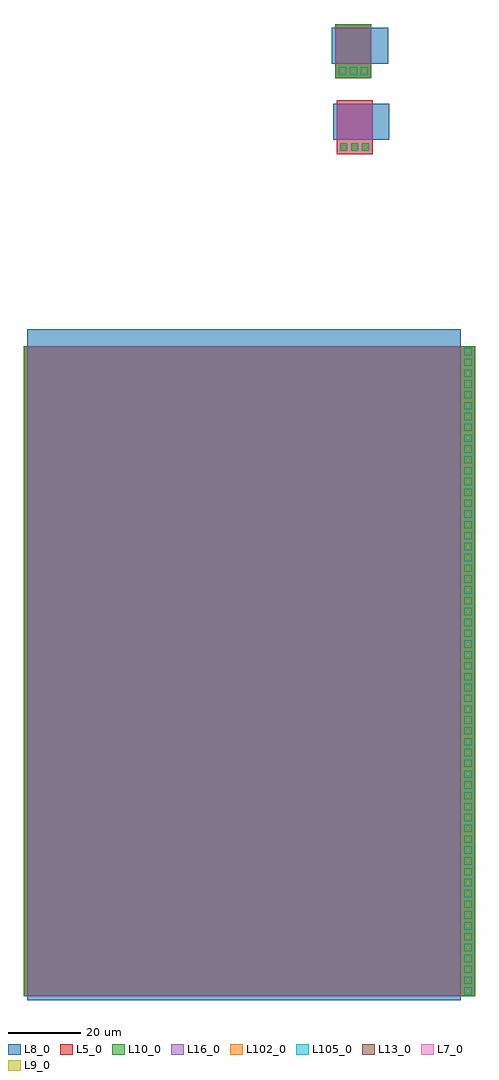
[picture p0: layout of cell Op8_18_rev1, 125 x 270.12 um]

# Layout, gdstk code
from math import pi, radians
import gdstk
lib = gdstk.Library(unit=1e-6, precision=1e-09)
def R(c, l, rs):  # rectangles x0, y0, x1, y1
    for r in rs: c.add(gdstk.rectangle(r[:2], r[2:], *l))
L5_0 = (5, 0)
L7_0 = (7, 0)
L8_0 = (8, 0)
L9_0 = (9, 0)
L10_0 = (10, 0)
L13_0 = (13, 0)
L16_0 = (16, 0)
L102_0 = (102, 0)
L105_0 = (105, 0)

pcont = lib.new_cell('pcont')
R(pcont, L5_0, [(-1,-1,1,1)])
R(pcont, L7_0, [(-0.5,-0.5,0.5,0.5)])
R(pcont, L8_0, [(-1,-1,1,1)])
R(pcont, L13_0, [(-0.5,-0.5,0.5,0.5)])
R(pcont, L102_0, [(-1,-1,1,1)])

via = lib.new_cell('Via')
R(via, L8_0, [(-1,-1,1,1)])
R(via, L9_0, [(-0.5,-0.5,0.5,0.5)])
R(via, L10_0, [(-1,-1,1,1)])
R(via, L13_0, [(-0.5,-0.5,0.5,0.5)])
R(via, L105_0, [(-1,-1,1,1)])

mpoly_cap = lib.new_cell('MPoly_cap')
R(mpoly_cap, L5_0, [(4.625,-1,184.625,124)])
R(mpoly_cap, L8_0, [(0,0,185.625,120)])
R(mpoly_cap, L10_0, [(4.625,-1,184.625,124)])
R(mpoly_cap, L16_0, [(4.625,0,184.625,120)])
mpoly_cap.add(gdstk.Reference(pcont, (96.125,122)))
mpoly_cap.add(gdstk.Reference(via, (96.125,122)))
mpoly_cap.add(gdstk.Reference(pcont, (99.125,122)))
mpoly_cap.add(gdstk.Reference(via, (99.125,122)))
mpoly_cap.add(gdstk.Reference(pcont, (102.125,122)))
mpoly_cap.add(gdstk.Reference(via, (102.125,122)))
mpoly_cap.add(gdstk.Reference(pcont, (105.125,122)))
mpoly_cap.add(gdstk.Reference(via, (105.125,122)))
mpoly_cap.add(gdstk.Reference(pcont, (108.125,122)))
mpoly_cap.add(gdstk.Reference(via, (108.125,122)))
mpoly_cap.add(gdstk.Reference(pcont, (111.125,122)))
mpoly_cap.add(gdstk.Reference(via, (111.125,122)))
mpoly_cap.add(gdstk.Reference(pcont, (114.125,122)))
mpoly_cap.add(gdstk.Reference(via, (114.125,122)))
mpoly_cap.add(gdstk.Reference(pcont, (117.125,122)))
mpoly_cap.add(gdstk.Reference(via, (117.125,122)))
mpoly_cap.add(gdstk.Reference(pcont, (120.125,122)))
mpoly_cap.add(gdstk.Reference(via, (120.125,122)))
mpoly_cap.add(gdstk.Reference(pcont, (123.125,122)))
mpoly_cap.add(gdstk.Reference(via, (123.125,122)))
mpoly_cap.add(gdstk.Reference(pcont, (126.125,122)))
mpoly_cap.add(gdstk.Reference(via, (126.125,122)))
mpoly_cap.add(gdstk.Reference(pcont, (129.125,122)))
mpoly_cap.add(gdstk.Reference(via, (129.125,122)))
mpoly_cap.add(gdstk.Reference(pcont, (132.125,122)))
mpoly_cap.add(gdstk.Reference(via, (132.125,122)))
mpoly_cap.add(gdstk.Reference(pcont, (135.125,122)))
mpoly_cap.add(gdstk.Reference(via, (135.125,122)))
mpoly_cap.add(gdstk.Reference(pcont, (138.125,122)))
mpoly_cap.add(gdstk.Reference(via, (138.125,122)))
mpoly_cap.add(gdstk.Reference(pcont, (141.125,122)))
mpoly_cap.add(gdstk.Reference(via, (141.125,122)))
mpoly_cap.add(gdstk.Reference(pcont, (144.125,122)))
mpoly_cap.add(gdstk.Reference(via, (144.125,122)))
mpoly_cap.add(gdstk.Reference(pcont, (147.125,122)))
mpoly_cap.add(gdstk.Reference(via, (147.125,122)))
mpoly_cap.add(gdstk.Reference(pcont, (150.125,122)))
mpoly_cap.add(gdstk.Reference(via, (150.125,122)))
mpoly_cap.add(gdstk.Reference(pcont, (153.125,122)))
mpoly_cap.add(gdstk.Reference(via, (153.125,122)))
mpoly_cap.add(gdstk.Reference(pcont, (156.125,122)))
mpoly_cap.add(gdstk.Reference(via, (156.125,122)))
mpoly_cap.add(gdstk.Reference(pcont, (159.125,122)))
mpoly_cap.add(gdstk.Reference(via, (159.125,122)))
mpoly_cap.add(gdstk.Reference(pcont, (162.125,122)))
mpoly_cap.add(gdstk.Reference(via, (162.125,122)))
mpoly_cap.add(gdstk.Reference(pcont, (165.125,122)))
mpoly_cap.add(gdstk.Reference(via, (165.125,122)))
mpoly_cap.add(gdstk.Reference(pcont, (168.125,122)))
mpoly_cap.add(gdstk.Reference(via, (168.125,122)))
mpoly_cap.add(gdstk.Reference(pcont, (171.125,122)))
mpoly_cap.add(gdstk.Reference(via, (171.125,122)))
mpoly_cap.add(gdstk.Reference(pcont, (174.125,122)))
mpoly_cap.add(gdstk.Reference(via, (174.125,122)))
mpoly_cap.add(gdstk.Reference(pcont, (177.125,122)))
mpoly_cap.add(gdstk.Reference(via, (177.125,122)))
mpoly_cap.add(gdstk.Reference(pcont, (180.125,122)))
mpoly_cap.add(gdstk.Reference(via, (180.125,122)))
mpoly_cap.add(gdstk.Reference(pcont, (183.125,122)))
mpoly_cap.add(gdstk.Reference(via, (183.125,122)))
mpoly_cap.add(gdstk.Reference(pcont, (6.125,122)))
mpoly_cap.add(gdstk.Reference(via, (6.125,122)))
mpoly_cap.add(gdstk.Reference(pcont, (9.125,122)))
mpoly_cap.add(gdstk.Reference(via, (9.125,122)))
mpoly_cap.add(gdstk.Reference(pcont, (12.125,122)))
mpoly_cap.add(gdstk.Reference(via, (12.125,122)))
mpoly_cap.add(gdstk.Reference(pcont, (15.125,122)))
mpoly_cap.add(gdstk.Reference(via, (15.125,122)))
mpoly_cap.add(gdstk.Reference(pcont, (18.125,122)))
mpoly_cap.add(gdstk.Reference(via, (18.125,122)))
mpoly_cap.add(gdstk.Reference(pcont, (21.125,122)))
mpoly_cap.add(gdstk.Reference(via, (21.125,122)))
mpoly_cap.add(gdstk.Reference(pcont, (24.125,122)))
mpoly_cap.add(gdstk.Reference(via, (24.125,122)))
mpoly_cap.add(gdstk.Reference(pcont, (27.125,122)))
mpoly_cap.add(gdstk.Reference(via, (27.125,122)))
mpoly_cap.add(gdstk.Reference(pcont, (30.125,122)))
mpoly_cap.add(gdstk.Reference(via, (30.125,122)))
mpoly_cap.add(gdstk.Reference(pcont, (33.125,122)))
mpoly_cap.add(gdstk.Reference(via, (33.125,122)))
mpoly_cap.add(gdstk.Reference(pcont, (36.125,122)))
mpoly_cap.add(gdstk.Reference(via, (36.125,122)))
mpoly_cap.add(gdstk.Reference(pcont, (39.125,122)))
mpoly_cap.add(gdstk.Reference(via, (39.125,122)))
mpoly_cap.add(gdstk.Reference(pcont, (42.125,122)))
mpoly_cap.add(gdstk.Reference(via, (42.125,122)))
mpoly_cap.add(gdstk.Reference(pcont, (45.125,122)))
mpoly_cap.add(gdstk.Reference(via, (45.125,122)))
mpoly_cap.add(gdstk.Reference(pcont, (48.125,122)))
mpoly_cap.add(gdstk.Reference(via, (48.125,122)))
mpoly_cap.add(gdstk.Reference(pcont, (51.125,122)))
mpoly_cap.add(gdstk.Reference(via, (51.125,122)))
mpoly_cap.add(gdstk.Reference(pcont, (54.125,122)))
mpoly_cap.add(gdstk.Reference(via, (54.125,122)))
mpoly_cap.add(gdstk.Reference(pcont, (57.125,122)))
mpoly_cap.add(gdstk.Reference(via, (57.125,122)))
mpoly_cap.add(gdstk.Reference(pcont, (60.125,122)))
mpoly_cap.add(gdstk.Reference(via, (60.125,122)))
mpoly_cap.add(gdstk.Reference(pcont, (63.125,122)))
mpoly_cap.add(gdstk.Reference(via, (63.125,122)))
mpoly_cap.add(gdstk.Reference(pcont, (66.125,122)))
mpoly_cap.add(gdstk.Reference(via, (66.125,122)))
mpoly_cap.add(gdstk.Reference(pcont, (69.125,122)))
mpoly_cap.add(gdstk.Reference(via, (69.125,122)))
mpoly_cap.add(gdstk.Reference(pcont, (72.125,122)))
mpoly_cap.add(gdstk.Reference(via, (72.125,122)))
mpoly_cap.add(gdstk.Reference(pcont, (75.125,122)))
mpoly_cap.add(gdstk.Reference(via, (75.125,122)))
mpoly_cap.add(gdstk.Reference(pcont, (78.125,122)))
mpoly_cap.add(gdstk.Reference(via, (78.125,122)))
mpoly_cap.add(gdstk.Reference(pcont, (81.125,122)))
mpoly_cap.add(gdstk.Reference(via, (81.125,122)))
mpoly_cap.add(gdstk.Reference(pcont, (84.125,122)))
mpoly_cap.add(gdstk.Reference(via, (84.125,122)))
mpoly_cap.add(gdstk.Reference(pcont, (87.125,122)))
mpoly_cap.add(gdstk.Reference(via, (87.125,122)))
mpoly_cap.add(gdstk.Reference(pcont, (90.125,122)))
mpoly_cap.add(gdstk.Reference(via, (90.125,122)))
mpoly_cap.add(gdstk.Reference(pcont, (93.125,122)))
mpoly_cap.add(gdstk.Reference(via, (93.125,122)))

poly_cap = lib.new_cell('Poly_cap')
R(poly_cap, L5_0, [(4.625,-1,14.625,14)])
R(poly_cap, L8_0, [(0,0,15.625,10)])
R(poly_cap, L16_0, [(4.625,0,14.625,10)])
poly_cap.add(gdstk.Reference(pcont, (6.625,12)))
poly_cap.add(gdstk.Reference(via, (6.625,12)))
poly_cap.add(gdstk.Reference(pcont, (9.625,12)))
poly_cap.add(gdstk.Reference(via, (9.625,12)))
poly_cap.add(gdstk.Reference(pcont, (12.625,12)))
poly_cap.add(gdstk.Reference(via, (12.625,12)))

mpoly_cap_1 = lib.new_cell('MPoly_cap$1')
R(mpoly_cap_1, L5_0, [(4.625,-1,14.625,14)])
R(mpoly_cap_1, L8_0, [(0,0,15.625,10)])
R(mpoly_cap_1, L10_0, [(4.625,-1,14.625,14)])
R(mpoly_cap_1, L16_0, [(4.625,0,14.625,10)])
mpoly_cap_1.add(gdstk.Reference(pcont, (6.625,12)))
mpoly_cap_1.add(gdstk.Reference(via, (6.625,12)))
mpoly_cap_1.add(gdstk.Reference(pcont, (9.625,12)))
mpoly_cap_1.add(gdstk.Reference(via, (9.625,12)))
mpoly_cap_1.add(gdstk.Reference(pcont, (12.625,12)))
mpoly_cap_1.add(gdstk.Reference(via, (12.625,12)))

op8_18_rev1 = lib.new_cell('Op8_18_rev1')
op8_18_rev1.add(gdstk.Reference(mpoly_cap, (230.71,127.7), rotation=3*pi/2))
op8_18_rev1.add(gdstk.Reference(poly_cap, (330.95,190.15), rotation=pi))
op8_18_rev1.add(gdstk.Reference(mpoly_cap_1, (330.6,211.2), rotation=pi))

lib.write_gds('Op8_18_rev1.gds')
